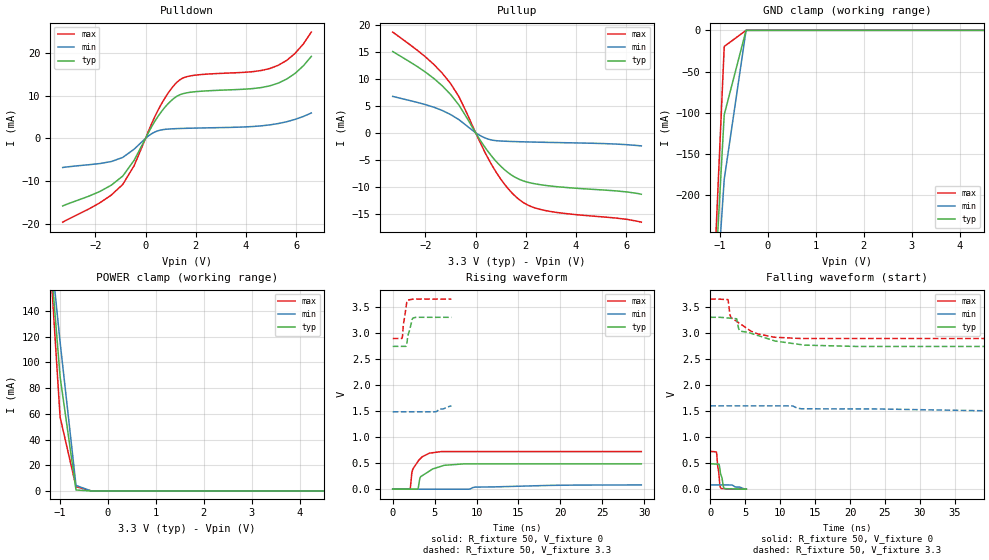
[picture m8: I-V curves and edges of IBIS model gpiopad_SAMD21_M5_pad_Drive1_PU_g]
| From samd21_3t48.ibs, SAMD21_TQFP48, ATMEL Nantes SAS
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|   MODEL : gpiopad_SAMD21_M5_pad_Drive1_PU_g
[Model] gpiopad_SAMD21_M5_pad_Drive1_PU_g
Model_type I/O
Vinl  =  0.99
Vinh  =  2.31
Vmeas =  1.650
| Capacitance   typ   min   max
C_comp   1.45231p   1.42406p   1.52865p
| Variables   typ   min   max
[GND Clamp Reference]   0   0   0
[POWER Clamp Reference]   3.3   1.6   3.65
[Pulldown Reference]   0   0   0
[Pullup Reference]   3.3   1.6   3.65
[Temperature Range]   25   105   -40
[Voltage Range]   3.3   1.6   3.65
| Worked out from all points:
|   slope of the pulldown table from 0 to 0.495 V, typ, clamps not added: 96.3 ohm
|   slope of the pullup table from 0 to 0.495 V, typ, clamps not added: 143 ohm
|   falling waveform, R_fixture 50, V_fixture 0: 20-80 % time 443ps typ, 1.34ns min, 346ps max; typ from 0.488 V to 0.001 V
|   falling waveform, R_fixture 50, V_fixture 3.3: 20-80 % time 5.2ns typ, 26.1ns min, 3.04ns max; typ from 3.3 V to 2.74 V
|   rising waveform, R_fixture 50, V_fixture 0: 20-80 % time 1.66ns typ, 7.68ns min, 1.06ns max; typ from 0 V to 0.485 V
|   rising waveform, R_fixture 50, V_fixture 3.3: 20-80 % time 482ps typ, 1.19ns min, 380ps max; typ from 2.74 V to 3.3 V
[GND Clamp]
| Voltage   I(typ)   I(min)   I(max)
-3.3V     -2.648A    -2.29A     -3.229A
-1.364V   -582.6mA   -574.2mA   -618.1mA
-909.1mV  -102.2mA   -180.5mA   -19.58mA
-454.5mV  -21.35uA   -51.34uA   -12.12uA
6.6V      0A         0A         0A
[POWER Clamp]
| Voltage   I(typ)   I(min)   I(max)
-3.3V     1.364A     1.145A     1.657A
-1.327V   242.2mA    237.8mA    253.7mA
-995.5mV  88.95mA    115.9mA    57.49mA
-663.6mV  729.7uA    4.271mA    3.277mA
-350mV    1.89uA     6.551uA    83.14uA
6.6V      0A         0A         0A
[Pulldown]
| Voltage   I(typ)   I(min)   I(max)
-3.3V     -15.87mA   -6.841mA   -19.68mA
-1.818V   -12.46mA   -5.915mA   -15.13mA
-909.1mV  -8.852mA   -4.479mA   -10.83mA
-454.5mV  -5.155mA   -2.54mA    -6.402mA
154.7mV   1.792mA    739.9uA    2.259mA
567.2mV   5.754mA    1.894mA    7.387mA
979.7mV   8.614mA    2.203mA    11.29mA
1.341V    10.16mA    2.3mA      13.62mA
1.959V    10.93mA    2.399mA    14.81mA
4.959V    12.33mA    3.162mA    16.41mA
5.955V    15.24mA    4.445mA    19.94mA
6.6V      19.23mA    5.946mA    24.93mA
[Pullup]
| Voltage   I(typ)   I(min)   I(max)
-3.3V     15.03mA    6.722mA    18.62mA
-1.991V   11.2mA     5.195mA    14.01mA
-1.327V   8.682mA    4.116mA    11.02mA
-995.5mV  7.083mA    3.365mA    9.105mA
-663.6mV  5.123mA    2.418mA    6.68mA
103.1mV   -787.6uA   -312.8uA   -1.018mA
670.3mV   -4.509mA   -1.374mA   -6.158mA
1.238V    -7.172mA   -1.587mA   -10.03mA
1.753V    -8.652mA   -1.665mA   -12.43mA
2.217V    -9.315mA   -1.721mA   -13.67mA
2.888V    -9.811mA   -1.789mA   -14.5mA
6.6V      -11.39mA   -2.436mA   -16.56mA
[Ramp]
dV/dt_r   0.29303/1.70013n  49.0188m/7.71171n  0.435885/1.08469n
dV/dt_f   0.33689/5.22209n  69.8276m/26.5303n  0.456344/3.06318n
R_load = 50
[Falling Waveform]
R_fixture = 50
V_fixture = 0
V_fixture_min = 0
V_fixture_max = 0
| Time   V(typ)   V(min)   V(max)
0s        488.4mV    81.7mV     726.5mV
876.5ps   482.3mV    81.59mV    715.5mV
938.8ps   481.9mV    81.58mV    658.3mV
1.05ns    481.1mV    81.57mV    454.9mV
1.251ns   479.8mV    81.55mV    262.3mV
1.369ns   397.5mV    81.53mV    81.78mV
1.552ns   265.4mV    81.51mV    14.24mV
1.859ns   63.13mV    81.47mV    11.62mV
2.044ns   10.73mV    81.45mV    10.04mV
5.162ns   529.2uV    826.8uV    1.181mV
[Falling Waveform]
R_fixture = 50
V_fixture = 3.3
V_fixture_min = 1.6
V_fixture_max = 3.65
| Time   V(typ)   V(min)   V(max)
0s        3.3V       1.6V       3.65V
2.546ns   3.286V     1.6V       3.639V
2.802ns   3.283V     1.6V       3.364V
2.935ns   3.282V     1.6V       3.299V
3.778ns   3.271V     1.6V       3.222V
4.255ns   3.034V     1.6V       3.178V
6.752ns   2.953V     1.6V       2.982V
9.148ns   2.85V      1.6V       2.918V
20.96ns   2.74V      1.541V     2.893V
66.18ns   2.74V      1.485V     2.893V
[Rising Waveform]
R_fixture = 50
V_fixture = 0
V_fixture_min = 0
V_fixture_max = 0
| Time   V(typ)   V(min)   V(max)
0s        5.116nV    25.78nV    4.625nV
2.084ns   605uV      25.78nV    7.739mV
2.28ns    661.8uV    25.78nV    311.4mV
2.399ns   696.5uV    25.78nV    385.4mV
2.996ns   869.9uV    25.78nV    528.4mV
3.338ns   240mV      25.78nV    592.6mV
4.385ns   347.8mV    25.78nV    690.9mV
6.142ns   457.3mV    25.78nV    720.9mV
8.479ns   485.1mV    25.78nV    721mV
29.67ns   485.3mV    81.51mV    721.3mV
[Rising Waveform]
R_fixture = 50
V_fixture = 3.3
V_fixture_min = 1.6
V_fixture_max = 3.65
| Time   V(typ)   V(min)   V(max)
0s        2.739V     1.484V     2.889V
1.132ns   2.739V     1.484V     2.903V
1.174ns   2.739V     1.484V     2.945V
1.262ns   2.739V     1.484V     3.143V
1.645ns   2.753V     1.484V     3.549V
1.768ns   2.894V     1.484V     3.626V
1.804ns   2.943V     1.484V     3.627V
2.412ns   3.282V     1.484V     3.644V
5.099ns   3.296V     1.484V     3.646V
7.008ns   3.296V     1.597V     3.646V
[Add Submodel]
| Submodel Name Mode
M5_pad_Drive1_PU_g_T Non-Driving
